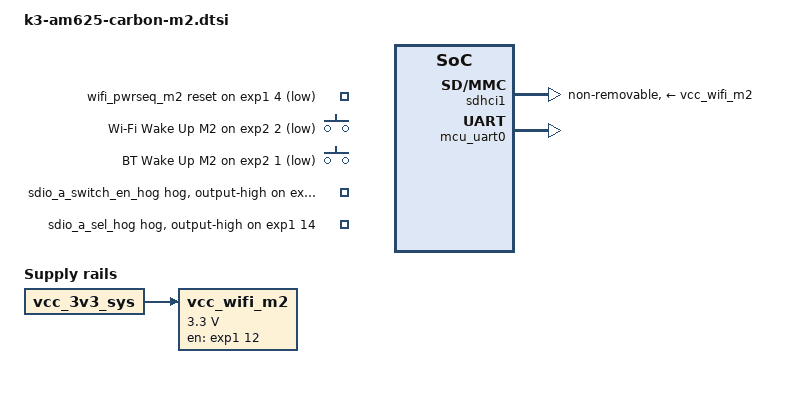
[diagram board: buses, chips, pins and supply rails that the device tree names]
// SPDX-License-Identifier: GPL-2.0
/*
 * M.2 SDIO IF5xx module
 * Copyright (C) 2024 Ezurio LLC
 */

/dts-v1/;
/plugin/;

#include <dt-bindings/interrupt-controller/irq.h>
#include <dt-bindings/gpio/gpio.h>
#include <dt-bindings/input/input.h>

&{/} {
	vcc_wifi_m2: regulator-wifi-m2 {
		compatible = "regulator-fixed";
		regulator-name = "vcc_wifi_m2";
		regulator-min-microvolt = <3300000>;
		regulator-max-microvolt = <3300000>;

		vin-supply = <&vcc_3v3_sys>;

		gpios = <&exp1 12 GPIO_ACTIVE_HIGH>; 
		enable-active-high;
	};

	wifi_pwrseq_m2: wifi-pwrseq-m2 {
		compatible = "mmc-pwrseq-simple";
		pinctrl-names = "default";
		power-off-delay-us = <100000>;
		post-power-on-delay-ms = <150>;

		reset-gpios = <&exp1 4 GPIO_ACTIVE_LOW>;   /* M2_WDISABLE1# */
	};

	wifi_wakeup_m2: wifi_wakeup_m2 {
		compatible = "gpio-keys";

		wifi-wake-up-m2 {
			label = "Wi-Fi Wake Up M2";
			gpios = <&exp2 2 (GPIO_ACTIVE_LOW | GPIO_PULL_UP)>;
			linux,code = <KEY_WAKEUP>;
			wakeup-source;
		};

		bt-wake-up-m2 {
			label = "BT Wake Up M2";
			gpios = <&exp2 1 (GPIO_ACTIVE_LOW | GPIO_PULL_UP)>;
			linux,code = <KEY_WAKEUP>;
			wakeup-source;
		};
	};
};

&exp1 {
	sdio_a_switch_en_hog {
		gpio-hog;
		output-high;
		gpios = <13 GPIO_ACTIVE_HIGH>;
	};

	sdio_a_sel_hog {
		gpio-hog;
		output-high;
		gpios = <14 GPIO_ACTIVE_HIGH>;
	};
};

&exp2 {
	wakeup-source;
};

&sdhci1 { /* SDIO_A uSD / M.2_SDIO */
	status = "okay";

	vmmc-supply = <&vcc_wifi_m2>;
	mmc-pwrseq = <&wifi_pwrseq_m2>;

	non-removable;
	ti,fails-without-test-cd;
	ti,driver-strength-ohm = <50>;
	keep-power-in-suspend;

	#address-cells = <1>;
	#size-cells = <0>;
};

&mcu_uart0 {
	status = "okay";

	uart-has-rtscts;
};
